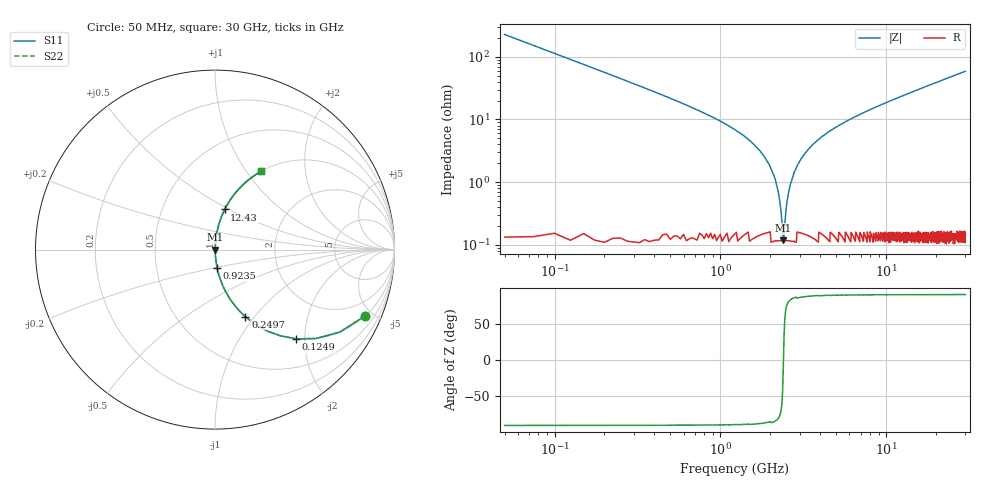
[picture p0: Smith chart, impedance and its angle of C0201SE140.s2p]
!	AVX Thin Film Operation 	Date: April 2014
!	Description: Accu-P® Series, Thin Film  SMD RF Capacitor
!	Part Number: 0201YK140FBSTR
# MHZ S MA R 50
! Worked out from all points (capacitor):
!   1201 points, 50 MHz to 30 GHz, reference 50 ohm
!   read as one part in series: C = 14 pF near 199.8 MHz
!   lowest |Z| = 119 mohm at 2.396 GHz (marker M1)
!   series resonance near 2.4 GHz, so ESL is about 310 pH
!   S11 on the Smith chart (normalised r, x): 50 MHz: 1.00, -4.54; 124.9 MHz: 1.00, -1.82; 249.7 MHz: 1.00, -0.90; 923.5 MHz: 1.00, -0.21; 12.43 GHz: 1.00, +0.47; 30 GHz: 1.00, +1.18
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50  0.915 -23.7  0.403 66.2  0.403 66.2  0.915 -23.7
124.875  0.672 -47.7  0.74 42.2  0.74 42.2  0.672 -47.7
249.667  0.41 -65.6  0.911 24.2  0.911 24.2  0.41 -65.6
449.333  0.237 -76.0  0.97 13.7  0.97 13.7  0.237 -76.0
923.542  0.104 -83.3  0.993 6.0  0.993 6.0  0.104 -83.3
1896.917  0.022 -85.3  0.998 1.3  0.998 1.3  0.022 -85.3
2096.583  0.013 -83.3  0.999 0.7  0.999 0.7  0.013 -83.3
2296.25  0.004396 -71.9  0.999 0.2  0.999 0.2  0.004396 -71.9
2396.083  0.001357 -6.6  0.999 0.0  0.999 0.0  0.001357 -6.6
2495.917  0.003943 69.8  0.999 -0.2  0.999 -0.2  0.003943 69.8
2645.667  0.009329 81.2  0.999 -0.5  0.999 -0.5  0.009329 81.2
2770.458  0.014 83.6  0.999 -0.8  0.999 -0.8  0.014 83.6
3169.792  0.027 85.6  0.998 -1.5  0.998 -1.5  0.027 85.6
3943.5  0.049 85.6  0.997 -2.8  0.997 -2.8  0.049 85.6
5041.667  0.077 84.6  0.996 -4.4  0.996 -4.4  0.077 84.6
7088.25  0.123 82.3  0.991 -7.1  0.991 -7.1  0.123 82.3
10058.29  0.184 79.0  0.982 -10.6  0.982 -10.6  0.184 79.0
12429.33  0.23 76.4  0.972 -13.3  0.972 -13.3  0.23 76.4
15025  0.277 73.6  0.96 -16.1  0.96 -16.1  0.277 73.6
20016.67  0.362 68.6  0.931 -21.2  0.931 -21.2  0.362 68.6
25033.29  0.439 63.8  0.897 -26.1  0.897 -26.1  0.439 63.8
30000  0.507 59.4  0.861 -30.4  0.861 -30.4  0.507 59.4
